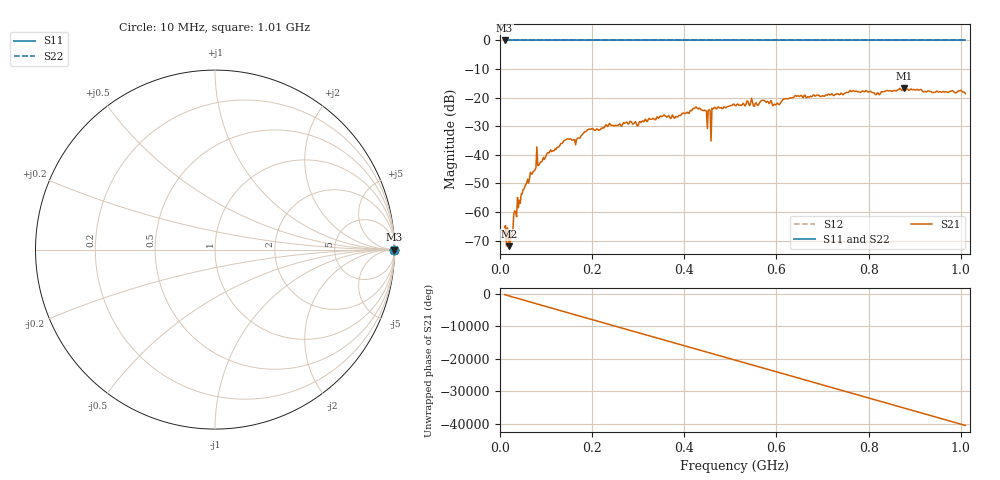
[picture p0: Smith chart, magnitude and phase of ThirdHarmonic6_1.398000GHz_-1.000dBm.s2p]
! 8/16/2025 3:58:20 PM
! C:\ANRITSUVNA\TEMP\TEMP.S2P
! CHANNEL.1
! TR.MEASUREMENT
! RAW.DATA
! RF.CORRECTION.OFF
! AVERAGING.OFF
! IF.BANDWIDTH: 5KHZ
! SWEEPTYPE:  FREQ.SWEEP(Linear)
! Reference Plane Port Info
! PORT:  PORT1  PORT2
! DISTANCE:  0  m  0  m
! TIME:  0  s  0  s
! PHASE.OFFSET:  0  deg.  0  deg.
! LOSS:  0  dB  0  dB
! REF.LOSS:  0  dB  0  dB
! REF.FREQ:  0  Hz  0  Hz
! Power Info
! POWER:  -20  dBm  -20  dBm
! EFF.POWER:  -20  dBm  -20  dBm
! SOURCE.ATTEN:  0  dB  0  dB
! TEST.ATTEN:  0  dB  0  dB
# GHZ S RI R 50.0
! FREQ.GHZ  S11RE  S11IM  S21RE  S21IM  S12RE  S12IM  S22RE  S22IM
!; PortSelection: Port_12
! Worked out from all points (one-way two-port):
!   501 points, 10 MHz to 1.01 GHz, reference 50 ohm
!   highest |S21| = -16.73 dB at 876 MHz (marker M1); lowest = -71.9 dB at 20 MHz (marker M2)
!   lowest |S11| = 0.0 dB at 10 MHz (marker M3)
!   |S11| at or under -10 dB: nowhere
!   |S22| runs from 0.0 to 0.0 dB; largest |S21 - S12| = 1.1
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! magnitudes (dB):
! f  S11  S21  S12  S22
! 10 MHz  0.0  -65.3  0.0  0.0
! 20 MHz  0.0  -71.9  0.0  0.0
! 24 MHz  0.0  -68.4  0.0  0.0
! 34 MHz  0.0  -60.0  0.0  0.0
! 76 MHz  0.0  -45.2  0.0  0.0
! 142 MHz  0.0  -34.8  0.0  0.0
! 178 MHz  0.0  -33.0  0.0  0.0
! 234 MHz  0.0  -30.1  0.0  0.0
! 344 MHz  0.0  -27.3  0.0  0.0
! 382 MHz  0.0  -26.5  0.0  0.0
! 428 MHz  0.0  -23.7  0.0  0.0
! 452 MHz  0.0  -24.4  0.0  0.0
! 454 MHz  0.0  -24.3  0.0  0.0
! 462 MHz  0.0  -23.9  0.0  0.0
! 464 MHz  0.0  -23.7  0.0  0.0
! 510 MHz  0.0  -22.7  0.0  0.0
! 570 MHz  0.0  -20.9  0.0  0.0
! 596 MHz  0.0  -22.3  0.0  0.0
! 678 MHz  0.0  -19.5  0.0  0.0
! 844 MHz  0.0  -17.7  0.0  0.0
! 876 MHz  0.0  -16.7  0.0  0.0
! 1.01 GHz  0.0  -18.6  0.0  0.0
